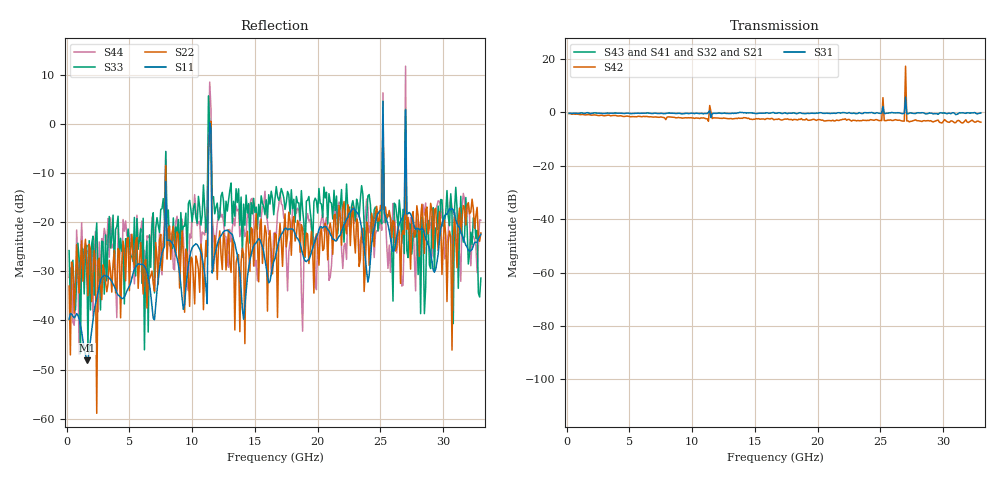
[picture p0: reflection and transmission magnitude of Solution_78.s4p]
# GHZ S RI R 50
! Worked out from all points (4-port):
!   329 points, 200 MHz to 33 GHz, reference 50 ohm
!   strongest paths, dB at 200 MHz, 8.4 GHz, 16.6 GHz, 24.8 GHz, 33 GHz:
!     S31: -0.4, -0.4, -0.3, -0.2, -0.2
!     S42: -0.5, -1.8, -2.7, -2.9, -3.7
!     S43: -, -, -, -, -
!     S41: -, -, -, -, -
!     S32: -, -, -, -, -
!     S21: -, -, -, -, -
!   lowest |S11| = -48.1 dB at 1.6 GHz (marker M1), VSWR 1.01, Z = 50.2 + j0.357 ohm
!   |S11| at or under -10 dB: start of sweep to 11.29 GHz; 11.53 GHz to 25.13 GHz (13.6 GHz wide, 74.2 % of centre); 27.06 GHz to end of sweep (the widest 3 of 4)
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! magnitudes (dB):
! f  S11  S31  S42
! 200 MHz  -39.8  -0.4  -0.5
! 1.6 GHz  -48.1  -0.2  -0.9
! 11.4 GHz  0.3  0.6  2.6
! 18.8 GHz  -26.4  -0.4  -2.8
! 26.8 GHz  -18.8  -0.5  -3.3
! 27 GHz  2.9  5.7  17.3
! 33 GHz  -22.4  -0.2  -3.7
